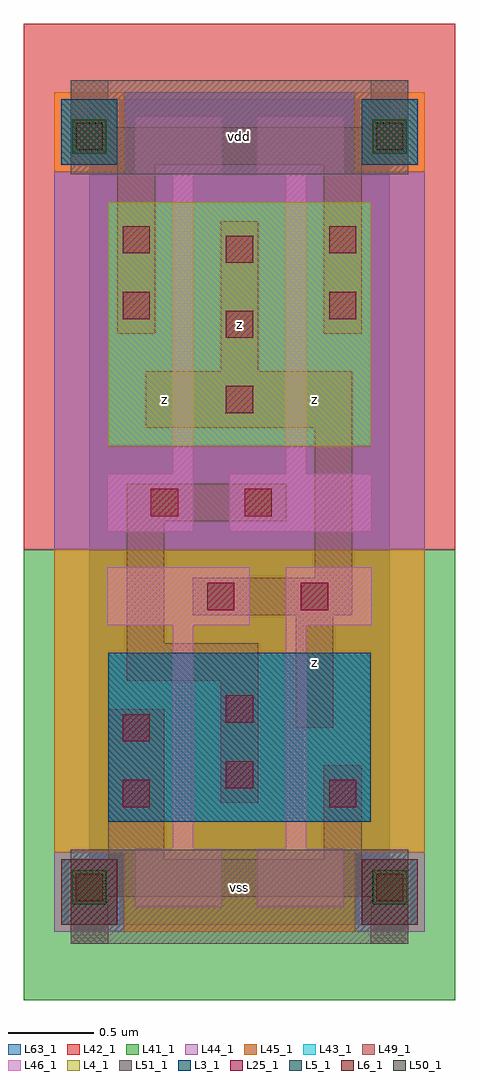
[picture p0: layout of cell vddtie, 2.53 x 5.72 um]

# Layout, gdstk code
import gdstk
lib = gdstk.Library(unit=1e-6, precision=1e-09)
def R(c, l, rs):  # rectangles x0, y0, x1, y1
    for r in rs: c.add(gdstk.rectangle(r[:2], r[2:], *l))
def A(c, l, x, y, w, h, nx, ny, dx, dy):  # array of equal rectangles
    R(c, l, [(x+i*dx, y+j*dy, x+i*dx+w, y+j*dy+h) for i in range(nx) for j in range(ny)])
L3_1 = (3, 1)
L4_1 = (4, 1)
L5_1 = (5, 1)
L6_1 = (6, 1)
L25_1 = (25, 1)
L41_1 = (41, 1)
L42_1 = (42, 1)
L43_1 = (43, 1)
L44_1 = (44, 1)
L45_1 = (45, 1)
L46_1 = (46, 1)
L49_1 = (49, 1)
L50_1 = (50, 1)
L51_1 = (51, 1)
L63_1 = (63, 1)

vddtie = lib.new_cell('vddtie')
R(vddtie, L3_1, [(0.11,0.605,1.65,1.595)])
R(vddtie, L4_1, [(0.11,2.805,1.65,4.235)])
R(vddtie, L5_1, [(-0.165,4.455,0.165,4.84), (1.595,4.455,1.925,4.84)])
R(vddtie, L6_1, [(-0.165,0,0.165,0.385), (1.595,0,1.925,0.385)])
A(vddtie, L25_1, 0.8, 3, 0.16, 0.16, 1, 3, 0, 0.44)
R(vddtie, L25_1, [(-0.08,0.14,0.08,0.3), (1.68,0.14,1.84,0.3), (0.195,0.69,0.355,0.85), (1.405,0.69,1.565,0.85), (0.8,0.8,0.96,0.96), (0.195,1.075,0.355,1.235), (0.8,1.185,0.96,1.345), (0.69,1.845,0.85,2.005), (1.24,1.845,1.4,2.005), (0.36,2.395,0.52,2.555), (0.91,2.395,1.07,2.555), (0.195,3.55,0.355,3.71), (1.405,3.55,1.565,3.71), (0.195,3.935,0.355,4.095), (1.405,3.935,1.565,4.095), (-0.08,4.54,0.08,4.7), (1.68,4.54,1.84,4.7)])
R(vddtie, L41_1, [(-0.385,-0.44,2.145,2.2)])
R(vddtie, L42_1, [(-0.385,2.2,2.145,5.28)])
R(vddtie, L43_1, [(-0.165,0,0.165,0.385), (1.595,0,1.925,0.385), (0.11,0.605,1.65,1.595), (0.11,2.805,1.65,4.235), (-0.165,4.455,0.165,4.84), (1.595,4.455,1.925,4.84)])
R(vddtie, L44_1, [(-0.205,-0.04,0.205,0.425), (1.555,-0.04,1.965,0.425), (-0.205,2.2,1.965,4.415), (0.205,4.415,1.555,4.88)])
R(vddtie, L45_1, [(0.205,-0.04,1.555,0.425), (-0.205,0.425,1.965,2.2), (-0.205,4.415,0.205,4.88), (1.555,4.415,1.965,4.88)])
R(vddtie, L46_1, [(0.27,0.105,0.775,0.445), (0.985,0.105,1.49,0.445), (0.49,0.445,0.61,1.755), (1.15,0.445,1.27,1.755), (0.105,1.755,0.94,2.095), (1.15,1.755,1.655,2.095), (0.105,2.305,0.61,2.645), (0.82,2.305,1.655,2.645), (0.49,2.645,0.61,4.395), (1.15,2.645,1.27,4.395), (0.27,4.395,0.775,4.735), (0.985,4.395,1.49,4.735)])
R(vddtie, L49_1, [(-0.11,-0.11,0.11,0.165), (1.65,-0.11,1.87,0.165), (-0.11,0.165,1.87,0.385), (0.11,0.385,0.44,1.265), (1.375,0.385,1.595,0.935), (0.77,0.715,0.99,1.43), (1.21,1.155,1.43,1.815), (0.22,1.43,0.99,1.65), (0.22,1.65,0.44,2.365), (0.605,1.815,1.54,2.035), (1.32,2.035,1.54,2.915), (0.22,2.365,1.155,2.585), (0.33,2.915,1.54,3.245), (0.77,3.245,0.99,4.125), (0.165,3.465,0.385,4.455), (1.375,3.465,1.595,4.455), (-0.11,4.455,1.87,4.675), (-0.11,4.675,0.11,4.95), (1.65,4.675,1.87,4.95)])
R(vddtie, L50_1, [(-0.1,0.12,0.1,0.32), (1.66,0.12,1.86,0.32), (-0.1,4.52,0.1,4.72), (1.66,4.52,1.86,4.72)])
R(vddtie, L51_1, [(-0.11,-0.11,1.87,0.44), (-0.11,4.4,1.87,4.95)])
R(vddtie, L63_1, [(0,0,1.76,4.84)])
vddtie.add(gdstk.Label('z', (0.44,3.08), layer=49, texttype=1))
vddtie.add(gdstk.Label('z', (0.88,3.52), layer=49, texttype=1))
vddtie.add(gdstk.Label('z', (1.32,1.54), layer=49, texttype=1))
vddtie.add(gdstk.Label('z', (1.32,3.08), layer=49, texttype=1))
vddtie.add(gdstk.Label('vss', (0.88,0.22), layer=51, texttype=1))
vddtie.add(gdstk.Label('vdd', (0.88,4.62), layer=51, texttype=1))

lib.write_gds('vddtie.gds')
